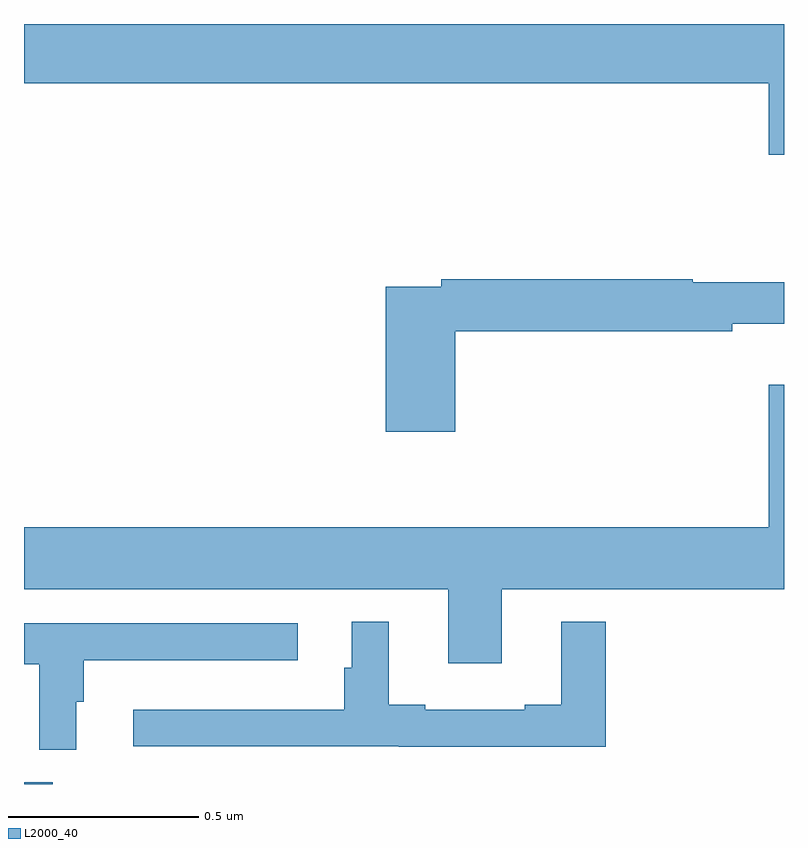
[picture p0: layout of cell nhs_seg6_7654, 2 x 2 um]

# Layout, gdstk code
import gdstk
lib = gdstk.Library(unit=1e-6, precision=1e-09)
def R(c, l, rs):  # rectangles x0, y0, x1, y1
    for r in rs: c.add(gdstk.rectangle(r[:2], r[2:], *l))
def P(c, l, *ps):  # polygons
    for p in ps: c.add(gdstk.Polygon(p, *l))
L2000_40 = (2000, 40)

nhs_seg6_7654 = lib.new_cell('nhs_seg6_7654')
R(nhs_seg6_7654, L2000_40, [(211,937.5,211.075,937.504)])
P(nhs_seg6_7654, L2000_40, [(213,939.5),(211,939.5),(211,939.344),(212.96,939.344),(212.96,939.156),(213,939.156)],
  [(212.135,938.692),(212.864,938.692),(212.864,938.711),(213,938.711),(213,938.821),(212.76,938.821),(212.76,938.828),(212.098,938.828),(212.098,938.808),(211.952,938.808),(211.952,938.427),(212.135,938.427)],
  [(212.257,938.012),(213,938.012),(213,938.551),(212.96,938.551),(212.96,938.176),(211,938.176),(211,938.012),(212.117,938.012),(212.117,937.818),(212.257,937.818)],
  [(212.531,937.927),(212.414,937.927),(212.414,937.708),(212.318,937.708),(212.318,937.695),(212.056,937.695),(212.056,937.708),(211.96,937.708),(211.96,937.927),(211.862,937.927),(211.862,937.806),(211.843,937.806),(211.843,937.696),(211.287,937.696),(211.287,937.599),(211.986,937.599),(211.986,937.598),(212.531,937.598)],
  [(211.138,937.716),(211.157,937.716),(211.157,937.826),(211.72,937.826),(211.72,937.923),(211,937.923),(211,937.815),(211.04,937.815),(211.04,937.59),(211.138,937.59)])

lib.write_gds('nhs_seg6_7654.gds')
